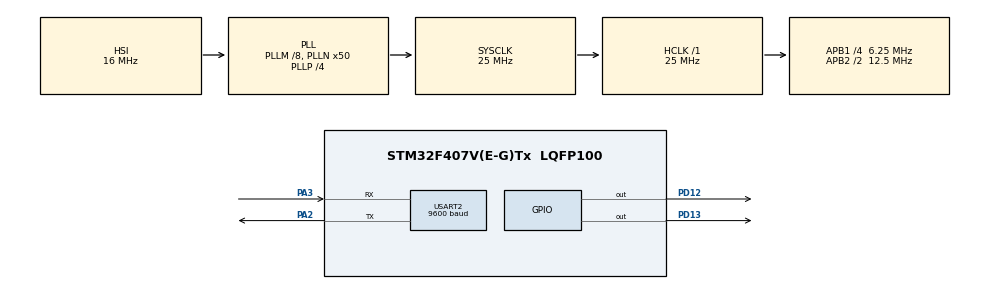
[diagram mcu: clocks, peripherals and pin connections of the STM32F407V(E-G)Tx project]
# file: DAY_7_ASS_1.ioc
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Mcu.Family=STM32F4
Mcu.Name=STM32F407V(E-G)Tx
Mcu.Package=LQFP100
NVIC.PriorityGroup=NVIC_PRIORITYGROUP_0
PA2.Mode=Asynchronous
PA2.Signal=USART2_TX
PA3.Mode=Asynchronous
PA3.Signal=USART2_RX
PD12.Signal=GPIO_Output
PD13.Signal=GPIO_Output
ProjectManager.HeapSize=0x200
ProjectManager.StackSize=0x400
ProjectManager.TargetToolchain=STM32CubeIDE
RCC.48MHZClocksFreq_Value=14285714.285714285
RCC.AHBFreq_Value=25000000
RCC.APB1CLKDivider=RCC_HCLK_DIV4
RCC.APB1Freq_Value=6250000
RCC.APB1TimFreq_Value=12500000
RCC.APB2CLKDivider=RCC_HCLK_DIV2
RCC.APB2Freq_Value=12500000
RCC.APB2TimFreq_Value=25000000
RCC.CortexFreq_Value=25000000
RCC.HCLKFreq_Value=25000000
RCC.HSE_VALUE=8000000
RCC.HSI_VALUE=16000000
RCC.LSE_VALUE=32768
RCC.PLLM=8
RCC.PLLN=50
RCC.PLLP=RCC_PLLP_DIV4
RCC.PLLQ=7
RCC.SYSCLKFreq_VALUE=25000000
RCC.SYSCLKSource=RCC_SYSCLKSOURCE_PLLCLK
RCC.VCOOutputFreq_Value=100000000
USART2.BaudRate=9600
USART2.VirtualMode=VM_ASYNC
board=STM32F407G-DISC1

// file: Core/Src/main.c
/* USER CODE BEGIN Header */
/**
  ******************************************************************************
  * @file           : main.c
  * @brief          : Main program body
  ******************************************************************************
  * @attention
  *
  * Copyright (c) 2026 STMicroelectronics.
  * All rights reserved.
  *
  * This software is licensed under terms that can be found in the LICENSE file
  * in the root directory of this software component.
  * If no LICENSE file comes with this software, it is provided AS-IS.
  *
  ******************************************************************************
  */
/* USER CODE END Header */
#include "main.h"

/* USER CODE BEGIN Includes */
#include<stdio.h>
#include<string.h>
/* USER CODE END Includes */

UART_HandleTypeDef huart2;

void SystemClock_Config(void);
static void MX_GPIO_Init(void);
static void MX_USART2_UART_Init(void);

/* USER CODE BEGIN 0 */
	void get_data(char str[])
	{
		uint8_t ch;
		int i = 0;
		do
		{
			HAL_UART_Receive(&huart2, &ch, 1, HAL_MAX_DELAY);
			str[i] = ch;
			i++;
		}while(ch != '\r');
		str[i] = '\n';
		str[i + 1] = '\0';
	}
/* USER CODE END 0 */

int main(void)
{

  /* MCU Configuration--------------------------------------------------------*/

  /* Reset of all peripherals, Initializes the Flash interface and the Systick. */
  HAL_Init();

  /* Configure the system clock */
  SystemClock_Config();

  /* Initialize all configured peripherals */
  MX_GPIO_Init();
  MX_USART2_UART_Init();

  /* Infinite loop */
  /* USER CODE BEGIN WHILE */
  while (1)
  {
	  char str[10];

	  HAL_UART_Transmit(&huart2, (uint8_t*)"1.RED LED ON  2.RED LED OFF  3.BLUE LED ON  4.BLUE LED OFF\r\nEnter choice: ", 75, HAL_MAX_DELAY);

	  get_data(str);

	  switch(str[0])
	  {
	  case '1':
		  HAL_GPIO_WritePin(GPIOD, GPIO_PIN_13, GPIO_PIN_SET);
		  break;
	  case '2':
		  HAL_GPIO_WritePin(GPIOD, GPIO_PIN_13, GPIO_PIN_RESET);
		  break;
	  case '3':
		  HAL_GPIO_WritePin(GPIOD, GPIO_PIN_12, GPIO_PIN_SET);
		  break;
	  case '4':
		  HAL_GPIO_WritePin(GPIOD, GPIO_PIN_12, GPIO_PIN_RESET);
		  break;
	  default:
		  HAL_UART_Transmit(&huart2, (uint8_t*)"Invalid Number\r\n", 16, HAL_MAX_DELAY);
		  break;
	  }
    /* USER CODE END WHILE */

  }
}

void SystemClock_Config(void)
{
  RCC_OscInitTypeDef RCC_OscInitStruct = {0};
  RCC_ClkInitTypeDef RCC_ClkInitStruct = {0};

  /** Configure the main internal regulator output voltage
  */
  __HAL_RCC_PWR_CLK_ENABLE();
  __HAL_PWR_VOLTAGESCALING_CONFIG(PWR_REGULATOR_VOLTAGE_SCALE1);

  /** Initializes the RCC Oscillators according to the specified parameters
  * in the RCC_OscInitTypeDef structure.
  */
  RCC_OscInitStruct.OscillatorType = RCC_OSCILLATORTYPE_HSI;
  RCC_OscInitStruct.HSIState = RCC_HSI_ON;
  RCC_OscInitStruct.HSICalibrationValue = RCC_HSICALIBRATION_DEFAULT;
  RCC_OscInitStruct.PLL.PLLState = RCC_PLL_ON;
  RCC_OscInitStruct.PLL.PLLSource = RCC_PLLSOURCE_HSI;
  RCC_OscInitStruct.PLL.PLLM = 8;
  RCC_OscInitStruct.PLL.PLLN = 50;
  RCC_OscInitStruct.PLL.PLLP = RCC_PLLP_DIV4;
  RCC_OscInitStruct.PLL.PLLQ = 7;
  if (HAL_RCC_OscConfig(&RCC_OscInitStruct) != HAL_OK)
  {
    Error_Handler();
  }

  /** Initializes the CPU, AHB and APB buses clocks
  */
  RCC_ClkInitStruct.ClockType = RCC_CLOCKTYPE_HCLK|RCC_CLOCKTYPE_SYSCLK
                              |RCC_CLOCKTYPE_PCLK1|RCC_CLOCKTYPE_PCLK2;
  RCC_ClkInitStruct.SYSCLKSource = RCC_SYSCLKSOURCE_PLLCLK;
  RCC_ClkInitStruct.AHBCLKDivider = RCC_SYSCLK_DIV1;
  RCC_ClkInitStruct.APB1CLKDivider = RCC_HCLK_DIV4;
  RCC_ClkInitStruct.APB2CLKDivider = RCC_HCLK_DIV2;

  if (HAL_RCC_ClockConfig(&RCC_ClkInitStruct, FLASH_LATENCY_0) != HAL_OK)
  {
    Error_Handler();
  }
}

static void MX_USART2_UART_Init(void)
{

  huart2.Instance = USART2;
  huart2.Init.BaudRate = 9600;
  huart2.Init.WordLength = UART_WORDLENGTH_8B;
  huart2.Init.StopBits = UART_STOPBITS_1;
  huart2.Init.Parity = UART_PARITY_NONE;
  huart2.Init.Mode = UART_MODE_TX_RX;
  huart2.Init.HwFlowCtl = UART_HWCONTROL_NONE;
  huart2.Init.OverSampling = UART_OVERSAMPLING_16;
  if (HAL_UART_Init(&huart2) != HAL_OK)
  {
    Error_Handler();
  }

}

static void MX_GPIO_Init(void)
{
  GPIO_InitTypeDef GPIO_InitStruct = {0};

  /* GPIO Ports Clock Enable */
  __HAL_RCC_GPIOA_CLK_ENABLE();
  __HAL_RCC_GPIOD_CLK_ENABLE();

  /*Configure GPIO pin Output Level */
  HAL_GPIO_WritePin(GPIOD, GPIO_PIN_12|GPIO_PIN_13, GPIO_PIN_RESET);

  /*Configure GPIO pins : PD12 PD13 */
  GPIO_InitStruct.Pin = GPIO_PIN_12|GPIO_PIN_13;
  GPIO_InitStruct.Mode = GPIO_MODE_OUTPUT_PP;
  GPIO_InitStruct.Pull = GPIO_NOPULL;
  GPIO_InitStruct.Speed = GPIO_SPEED_FREQ_LOW;
  HAL_GPIO_Init(GPIOD, &GPIO_InitStruct);

}

void Error_Handler(void)
{
  __disable_irq();
  while (1)
  {
  }
}
